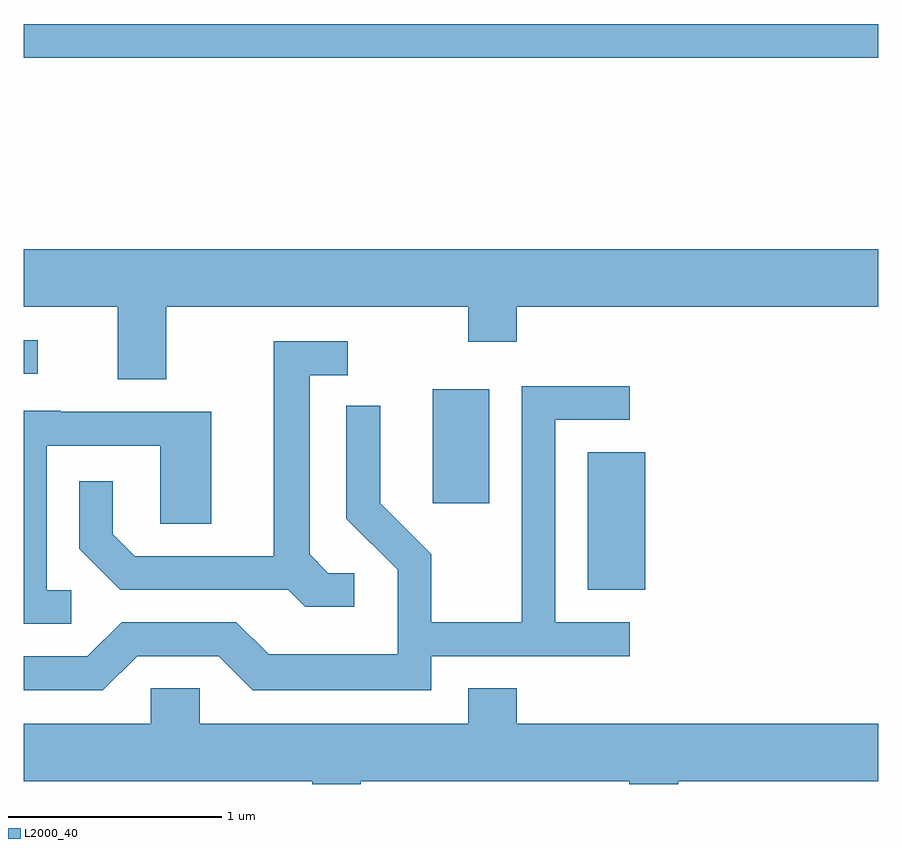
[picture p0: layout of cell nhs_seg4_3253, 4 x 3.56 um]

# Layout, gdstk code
import gdstk
lib = gdstk.Library(unit=1e-6, precision=1e-09)
def R(c, l, rs):  # rectangles x0, y0, x1, y1
    for r in rs: c.add(gdstk.rectangle(r[:2], r[2:], *l))
def P(c, l, *ps):  # polygons
    for p in ps: c.add(gdstk.Polygon(p, *l))
L2000_40 = (2000, 40)

nhs_seg4_3253 = lib.new_cell('nhs_seg4_3253')
R(nhs_seg4_3253, L2000_40, [(282.251,1368.891,282.519,1369.534), (281.526,1369.296,281.789,1369.829), (279.611,1369.901,279.678,1370.059), (279.611,1371.381,283.611,1371.539)])
P(nhs_seg4_3253, L2000_40, [(280.279,1370.216),(281.691,1370.216),(281.691,1370.051),(281.919,1370.051),(281.919,1370.216),(283.611,1370.216),(283.611,1370.484),(279.611,1370.484),(279.611,1370.216),(280.051,1370.216),(280.051,1369.876),(280.279,1369.876)],
  [(281.158,1368.969),(281.037,1368.969),(280.949,1369.057),(280.949,1369.896),(281.128,1369.896),(281.128,1370.054),(280.781,1370.054),(280.781,1369.049),(280.132,1369.049),(280.029,1369.152),(280.029,1369.398),(279.871,1369.398),(279.871,1369.084),(280.064,1368.891),(280.849,1368.891),(280.929,1368.811),(281.158,1368.811)],
  [(280.142,1368.581),(280.524,1368.581),(280.684,1368.421),(281.519,1368.421),(281.519,1368.581),(282.448,1368.581),(282.448,1368.739),(282.099,1368.739),(282.099,1369.686),(282.448,1369.686),(282.448,1369.844),(281.941,1369.844),(281.941,1368.739),(281.519,1368.739),(281.519,1369.057),(281.279,1369.297),(281.279,1369.753),(281.121,1369.753),(281.121,1369.224),(281.361,1368.984),(281.361,1368.589),(280.757,1368.589),(280.607,1368.739),(280.069,1368.739),(279.909,1368.579),(279.611,1368.579),(279.611,1368.421),(279.982,1368.421)],
  [(279.833,1368.889),(279.719,1368.889),(279.719,1369.566),(280.251,1369.566),(280.251,1369.201),(280.489,1369.201),(280.489,1369.724),(279.785,1369.724),(279.785,1369.729),(279.611,1369.729),(279.611,1368.731),(279.833,1368.731)],
  [(281.189,1367.996),(282.446,1367.996),(282.446,1367.982),(282.674,1367.982),(282.674,1367.996),(283.611,1367.996),(283.611,1368.264),(281.919,1368.264),(281.919,1368.429),(281.691,1368.429),(281.691,1368.264),(280.434,1368.264),(280.434,1368.429),(280.206,1368.429),(280.206,1368.264),(279.611,1368.264),(279.611,1367.996),(280.961,1367.996),(280.961,1367.982),(281.189,1367.982)])

lib.write_gds('nhs_seg4_3253.gds')
